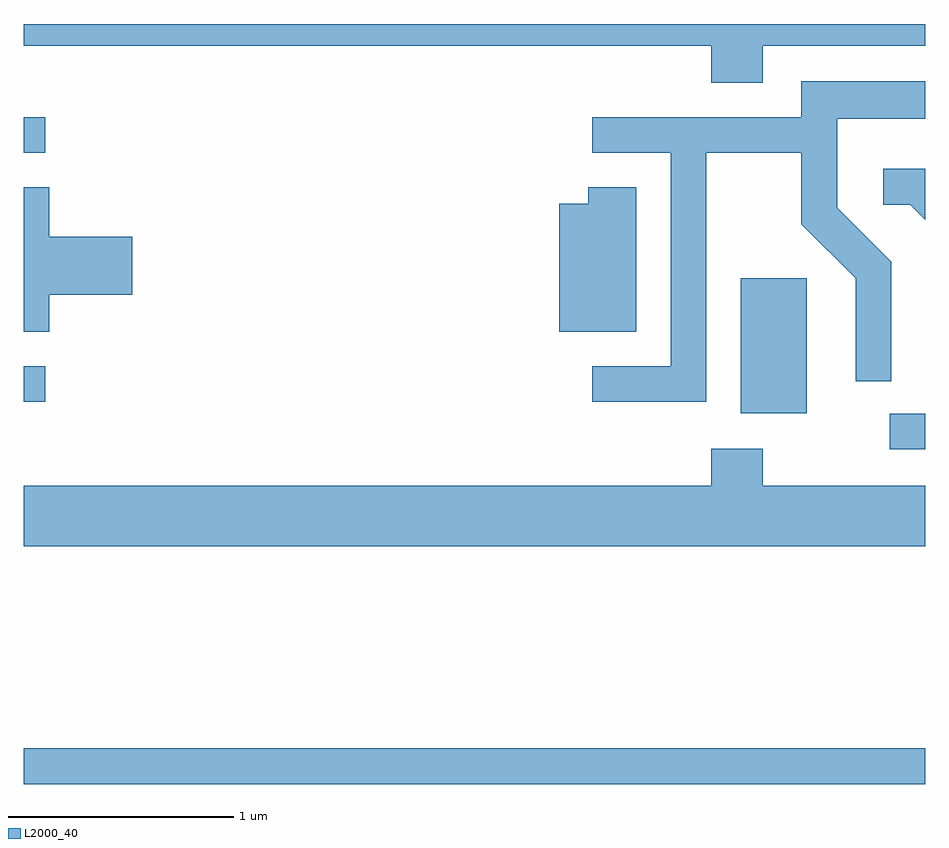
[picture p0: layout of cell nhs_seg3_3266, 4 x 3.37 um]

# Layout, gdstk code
import gdstk
lib = gdstk.Library(unit=1e-6, precision=1e-09)
def R(c, l, rs):  # rectangles x0, y0, x1, y1
    for r in rs: c.add(gdstk.rectangle(r[:2], r[2:], *l))
def P(c, l, *ps):  # polygons
    for p in ps: c.add(gdstk.Polygon(p, *l))
L2000_40 = (2000, 40)

nhs_seg3_3266 = lib.new_cell('nhs_seg3_3266')
R(nhs_seg3_3266, L2000_40, [(281.611,1120.521,285.611,1120.679), (285.453,1122.006,285.611,1122.164), (284.791,1122.166,285.084,1122.764), (281.611,1122.216,281.708,1122.374), (281.611,1123.321,281.708,1123.479)])
P(nhs_seg3_3266, L2000_40, [(284.889,1123.796),(285.611,1123.796),(285.611,1123.892),(281.611,1123.892),(281.611,1123.796),(284.661,1123.796),(284.661,1123.631),(284.889,1123.631)],
  [(284.639,1123.321),(285.061,1123.321),(285.061,1123.004),(285.301,1122.764),(285.301,1122.308),(285.459,1122.308),(285.459,1122.837),(285.219,1123.077),(285.219,1123.471),(285.611,1123.471),(285.611,1123.639),(285.061,1123.639),(285.061,1123.479),(284.133,1123.479),(284.133,1123.321),(284.481,1123.321),(284.481,1122.374),(284.133,1122.374),(284.133,1122.216),(284.639,1122.216)],
  [(285.611,1123.249),(285.423,1123.249),(285.423,1123.091),(285.544,1123.091),(285.611,1123.024)],
  [(284.329,1123.169),(284.116,1123.169),(284.116,1123.094),(283.986,1123.094),(283.986,1122.526),(284.329,1122.526)],
  [(281.724,1122.691),(282.094,1122.691),(282.094,1122.949),(281.724,1122.949),(281.724,1123.169),(281.611,1123.169),(281.611,1122.526),(281.724,1122.526)],
  [(285.611,1121.844),(284.889,1121.844),(284.889,1122.009),(284.661,1122.009),(284.661,1121.844),(281.611,1121.844),(281.611,1121.576),(285.611,1121.576)])

lib.write_gds('nhs_seg3_3266.gds')
